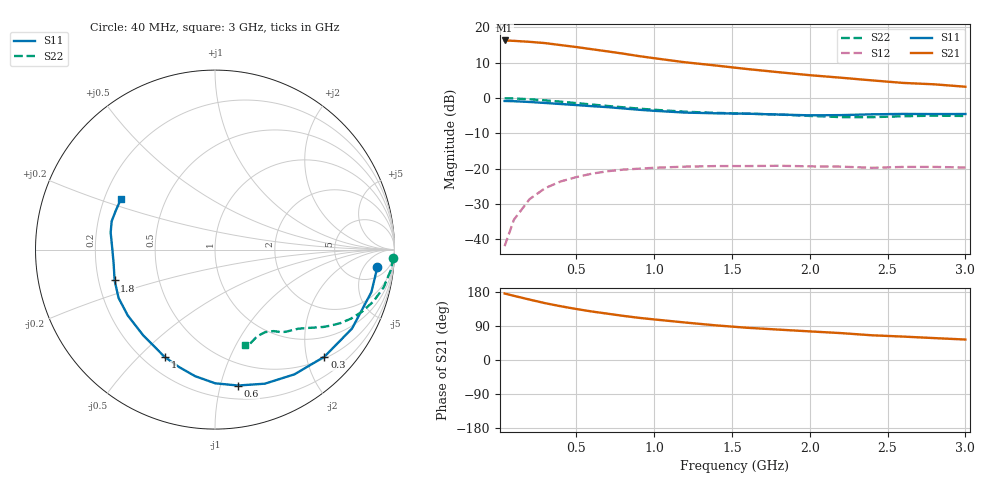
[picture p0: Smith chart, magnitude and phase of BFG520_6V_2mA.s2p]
! Filename:  BFG520G.S2P  Version:  2.1
! Philips part #: BFG520  Date: Feb 1992
! Bias condition: Vce=6V, Ic=2mA
! IN LINE PINNING: same data as with cross emitter pinning.
#  MHz  S  MA  R  50
! Freq  S11  S21  S12  S22  !GUM [dB]
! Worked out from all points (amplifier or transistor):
!   21 points, 40 MHz to 3 GHz, reference 50 ohm
!   highest |S21| = 16.3 dB at 40 MHz (marker M1)
!   |S21| within 3 dB of that: start of sweep to 685.6 MHz
!   unconditionally stable (mu >= 1): 2.296 GHz to end of sweep
!   at 300 MHz: K = 0.10, MSG = 20.5 dB, |S12| = -25.5 dB
!   at 1 GHz: K = 0.37, MSG = 15.5 dB, |S12| = -19.7 dB
!   at 3 GHz: K = 1.23, MAG = 8.6 dB, |S12| = -19.7 dB
!   S11 on the Smith chart (normalised r, x): 40 MHz: 9, -11; 300 MHz: 0.54, -2.35; 600 MHz: 0.31, -1.14; 1 GHz: 0.28, -0.60; 1.8 GHz: 0.27, -0.14; 3 GHz: 0.27, +0.23
40  0.91 -6.1  6.548 175.5  0.008 84.5  0.994 -2.6
100  0.903 -15.2  6.463 169.3  0.019 81.8  0.987 -6.5
200  0.881 -30.0  6.26 159.5  0.037 73.5  0.963 -12.6
300  0.853 -44.4  6.009 150.0  0.053 66.4  0.929 -18.1
400  0.824 -57.5  5.629 141.9  0.066 60.2  0.89 -22.8
500  0.797 -69.6  5.286 134.6  0.076 54.4  0.85 -26.9
600  0.768 -80.4  4.922 128.0  0.085 49.7  0.811 -30.3
700  0.745 -89.9  4.589 122.3  0.092 45.7  0.774 -33.1
800  0.714 -98.9  4.268 116.6  0.097 42.3  0.742 -35.5
900  0.684 -107.1  3.941 111.4  0.1 39.5  0.711 -37.6
1000  0.661 -115.0  3.672 107.1  0.103 37.2  0.684 -39.6
1200  0.623 -130.0  3.213 98.9  0.107 33.3  0.641 -43.4
1400  0.609 -143.0  2.888 91.3  0.109 30.1  0.617 -47.0
1600  0.601 -153.4  2.576 85.0  0.109 29.7  0.602 -49.6
1800  0.585 -162.9  2.326 80.2  0.11 29.2  0.585 -51.7
2000  0.57 -172.4  2.111 75.5  0.108 28.8  0.559 -54.3
2200  0.574 178.1  1.944 71.0  0.107 28.8  0.538 -58.7
2400  0.589 170.7  1.781 65.2  0.103 29.7  0.537 -64.0
2600  0.597 164.7  1.64 61.8  0.106 31.9  0.553 -68.2
2800  0.594 158.8  1.567 57.8  0.106 33.1  0.564 -70.4
3000  0.595 151.9  1.448 54.0  0.104 36.6  0.558 -72.4
